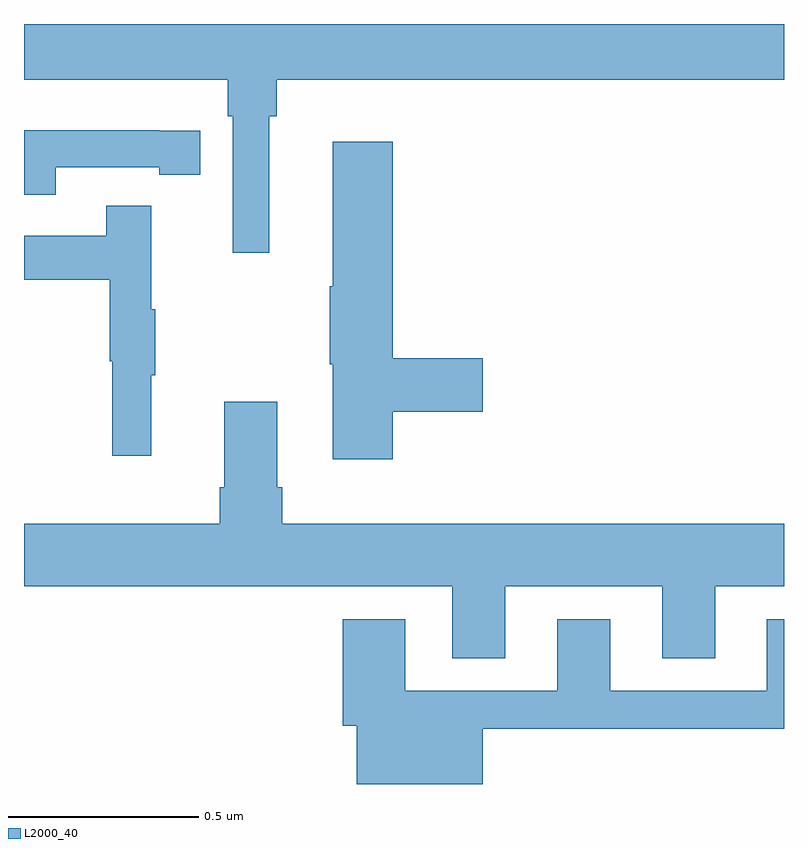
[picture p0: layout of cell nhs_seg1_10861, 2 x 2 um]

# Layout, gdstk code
import gdstk
lib = gdstk.Library(unit=1e-6, precision=1e-09)
def P(c, l, *ps):  # polygons
    for p in ps: c.add(gdstk.Polygon(p, *l))
L2000_40 = (2000, 40)

nhs_seg1_10861 = lib.new_cell('nhs_seg1_10861')
P(nhs_seg1_10861, L2000_40, [(246.646,564.956),(246.665,564.956),(246.665,565.052),(248,565.052),(248,565.199),(246,565.199),(246,565.052),(246.536,565.052),(246.536,564.956),(246.549,564.956),(246.549,564.597),(246.646,564.597)],
  [(246.084,564.822),(246.356,564.822),(246.356,564.802),(246.464,564.802),(246.464,564.918),(246.356,564.918),(246.356,564.919),(246,564.919),(246,564.75),(246.084,564.75)],
  [(246.971,564.178),(247.207,564.178),(247.207,564.32),(246.971,564.32),(246.971,564.889),(246.812,564.889),(246.812,564.509),(246.805,564.509),(246.805,564.303),(246.812,564.303),(246.812,564.054),(246.971,564.054)],
  [(246.335,564.275),(246.346,564.275),(246.346,564.449),(246.335,564.449),(246.335,564.721),(246.217,564.721),(246.217,564.642),(246,564.642),(246,564.546),(246.001,564.546),(246.001,564.526),(246.225,564.526),(246.225,564.312),(246.232,564.312),(246.232,564.063),(246.335,564.063)],
  [(247.267,563.72),(247.679,563.72),(247.679,563.53),(247.819,563.53),(247.819,563.72),(248,563.72),(248,563.884),(246.68,563.884),(246.68,563.98),(246.667,563.98),(246.667,564.205),(246.527,564.205),(246.527,563.98),(246.515,563.98),(246.515,563.884),(246,563.884),(246,563.72),(247.127,563.72),(247.127,563.53),(247.267,563.53)],
  [(247.207,563.344),(248,563.344),(248,563.632),(247.955,563.632),(247.955,563.445),(247.543,563.445),(247.543,563.632),(247.403,563.632),(247.403,563.445),(247.003,563.445),(247.003,563.632),(246.839,563.632),(246.839,563.352),(246.875,563.352),(246.875,563.199),(247.207,563.199)])

lib.write_gds('nhs_seg1_10861.gds')
